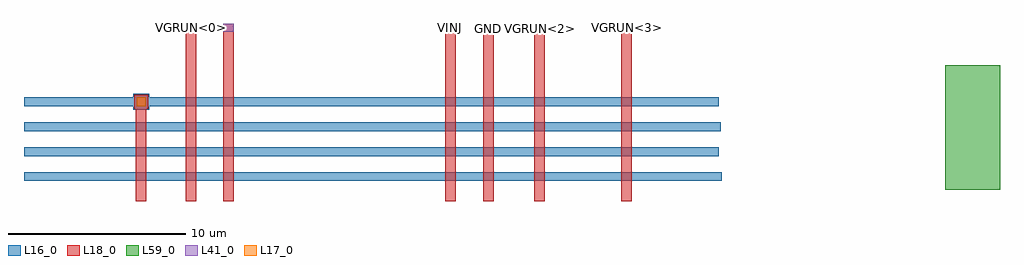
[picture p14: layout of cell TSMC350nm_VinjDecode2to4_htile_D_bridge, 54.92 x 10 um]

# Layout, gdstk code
import gdstk
lib = gdstk.Library(unit=1e-6, precision=1e-09)
def R(c, l, rs):  # rectangles x0, y0, x1, y1
    for r in rs: c.add(gdstk.rectangle(r[:2], r[2:], *l))
L16_0 = (16, 0)
L17_0 = (17, 0)
L18_0 = (18, 0)
L41_0 = (41, 0)
L59_0 = (59, 0)

prog_periph_via2_cdns_74 = lib.new_cell('prog_periph_VIA2_CDNS_744349986960')
R(prog_periph_via2_cdns_74, L16_0, [(-0.45,-0.45,0.45,0.45)])
R(prog_periph_via2_cdns_74, L17_0, [(-0.25,-0.25,0.25,0.25)])
R(prog_periph_via2_cdns_74, L18_0, [(-0.4,-0.4,0.4,0.4)])

tsmc350nm_vinjdecode2to4 = lib.new_cell('TSMC350nm_VinjDecode2to4_htile_D_bridge')
R(tsmc350nm_vinjdecode2to4, L41_0, [(11.2,9.55,11.8,10), (33.6,9.57,34.2,10), (9.1,9.58,9.7,10), (28.7,9.58,29.3,10)])
R(tsmc350nm_vinjdecode2to4, L59_0, [(51.83,0.64,54.92,7.65)])
tsmc350nm_vinjdecode2to4.add(gdstk.FlexPath([(0,1.4),(39.26,1.4)], 0.5, ends="flush", simple_path=True, layer=16, datatype=0))  # L16_0
tsmc350nm_vinjdecode2to4.add(gdstk.FlexPath([(0,5.6),(39.09,5.6)], 0.5, ends="flush", simple_path=True, layer=16, datatype=0))  # L16_0
tsmc350nm_vinjdecode2to4.add(gdstk.FlexPath([(0,4.2),(39.21,4.2)], 0.5, ends="flush", simple_path=True, layer=16, datatype=0))  # L16_0
tsmc350nm_vinjdecode2to4.add(gdstk.FlexPath([(0,2.8),(39.08,2.8)], 0.5, ends="flush", simple_path=True, layer=16, datatype=0))  # L16_0
tsmc350nm_vinjdecode2to4.add(gdstk.FlexPath([(6.59,0),(6.59,5.6)], 0.6, ends="flush", simple_path=True, layer=18, datatype=0))  # L18_0
tsmc350nm_vinjdecode2to4.add(gdstk.FlexPath([(24,0),(24,10)], 0.6, ends="flush", simple_path=True, layer=18, datatype=0))  # L18_0
tsmc350nm_vinjdecode2to4.add(gdstk.FlexPath([(26.14,0),(26.14,10)], 0.6, ends="flush", simple_path=True, layer=18, datatype=0))  # L18_0
tsmc350nm_vinjdecode2to4.add(gdstk.FlexPath([(33.9,0),(33.9,10)], 0.6, ends="flush", simple_path=True, layer=18, datatype=0))  # L18_0
tsmc350nm_vinjdecode2to4.add(gdstk.FlexPath([(29,0),(29,10)], 0.6, ends="flush", simple_path=True, layer=18, datatype=0))  # L18_0
tsmc350nm_vinjdecode2to4.add(gdstk.FlexPath([(11.5,0),(11.5,10)], 0.6, ends="flush", simple_path=True, layer=18, datatype=0))  # L18_0
tsmc350nm_vinjdecode2to4.add(gdstk.FlexPath([(9.4,0),(9.4,10)], 0.6, ends="flush", simple_path=True, layer=18, datatype=0))  # L18_0
tsmc350nm_vinjdecode2to4.add(gdstk.Reference(prog_periph_via2_cdns_74, (6.59,5.6)))
tsmc350nm_vinjdecode2to4.add(gdstk.Label('VINJ', (24,9.77), layer=18, texttype=0))
tsmc350nm_vinjdecode2to4.add(gdstk.Label('GND', (26.16,9.73), layer=18, texttype=0))
tsmc350nm_vinjdecode2to4.add(gdstk.Label('VGRUN<0>', (9.41,9.78), layer=41, texttype=0))
tsmc350nm_vinjdecode2to4.add(gdstk.Label('VGRUN<1>', (11.49,9.76), layer=41, texttype=0))
tsmc350nm_vinjdecode2to4.add(gdstk.Label('VGRUN<2>', (29.04,9.75), layer=41, texttype=0))
tsmc350nm_vinjdecode2to4.add(gdstk.Label('VGRUN<3>', (33.95,9.76), layer=41, texttype=0))

lib.write_gds('TSMC350nm_VinjDecode2to4_htile_D_bridge.gds')
